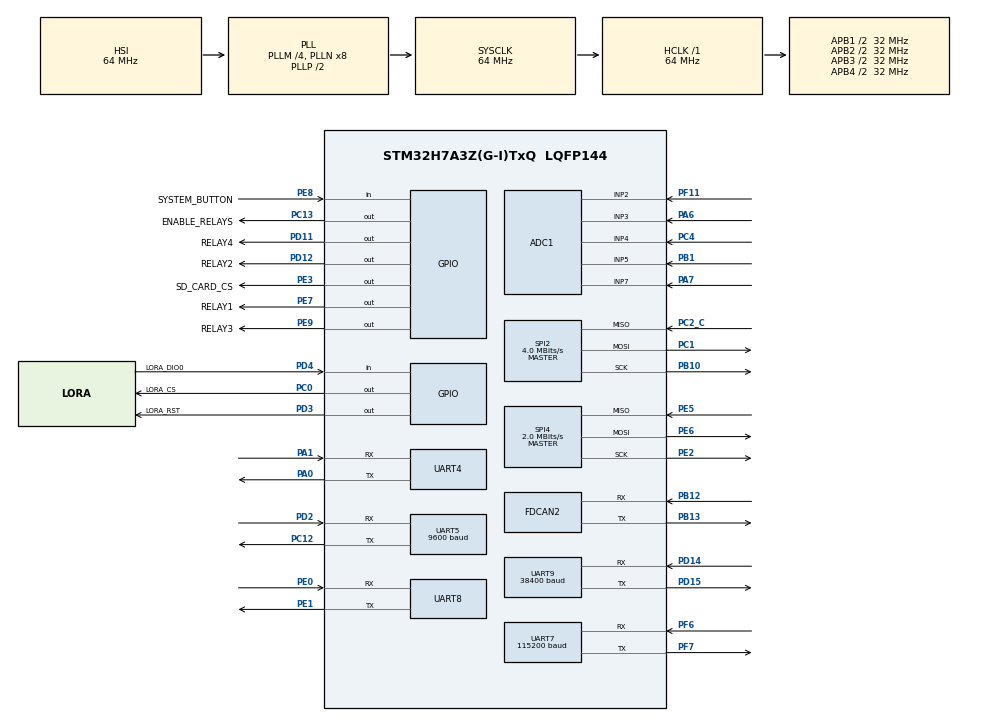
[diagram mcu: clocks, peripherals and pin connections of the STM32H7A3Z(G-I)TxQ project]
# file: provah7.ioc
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ADC1.Channel-0\#ChannelRegularConversion=ADC_CHANNEL_2
ADC1.Channel-1\#ChannelRegularConversion=ADC_CHANNEL_3
ADC1.Channel-2\#ChannelRegularConversion=ADC_CHANNEL_4
ADC1.Channel-3\#ChannelRegularConversion=ADC_CHANNEL_5
ADC1.Channel-4\#ChannelRegularConversion=ADC_CHANNEL_7
ADC1.ClockPrescaler=ADC_CLOCK_ASYNC_DIV32
ADC1.ContinuousConvMode=ENABLE
ADC1.ConversionDataManagement=ADC_CONVERSIONDATA_DMA_CIRCULAR
ADC1.EOCSelection=ADC_EOC_SEQ_CONV
ADC1.NbrOfConversion=5
ADC1.NbrOfConversionFlag=1
ADC1.OffsetNumber-0\#ChannelRegularConversion=ADC_OFFSET_NONE
ADC1.OffsetNumber-1\#ChannelRegularConversion=ADC_OFFSET_NONE
ADC1.OffsetNumber-2\#ChannelRegularConversion=ADC_OFFSET_NONE
ADC1.OffsetNumber-3\#ChannelRegularConversion=ADC_OFFSET_NONE
ADC1.OffsetNumber-4\#ChannelRegularConversion=ADC_OFFSET_NONE
ADC1.OffsetSignedSaturation-0\#ChannelRegularConversion=DISABLE
ADC1.OffsetSignedSaturation-1\#ChannelRegularConversion=DISABLE
ADC1.OffsetSignedSaturation-2\#ChannelRegularConversion=DISABLE
ADC1.OffsetSignedSaturation-3\#ChannelRegularConversion=DISABLE
ADC1.OffsetSignedSaturation-4\#ChannelRegularConversion=DISABLE
ADC1.Rank-0\#ChannelRegularConversion=1
ADC1.Rank-1\#ChannelRegularConversion=2
ADC1.Rank-2\#ChannelRegularConversion=3
ADC1.Rank-3\#ChannelRegularConversion=4
ADC1.Rank-4\#ChannelRegularConversion=5
ADC1.SamplingTime-0\#ChannelRegularConversion=ADC_SAMPLETIME_1CYCLE_5
ADC1.SamplingTime-1\#ChannelRegularConversion=ADC_SAMPLETIME_1CYCLE_5
ADC1.SamplingTime-2\#ChannelRegularConversion=ADC_SAMPLETIME_1CYCLE_5
ADC1.SamplingTime-3\#ChannelRegularConversion=ADC_SAMPLETIME_1CYCLE_5
ADC1.SamplingTime-4\#ChannelRegularConversion=ADC_SAMPLETIME_1CYCLE_5
ADC1.master=1
Dma.ADC1.0.Direction=DMA_PERIPH_TO_MEMORY
Dma.ADC1.0.EventEnable=DISABLE
Dma.ADC1.0.FIFOMode=DMA_FIFOMODE_DISABLE
Dma.ADC1.0.Instance=DMA1_Stream0
Dma.ADC1.0.MemDataAlignment=DMA_MDATAALIGN_HALFWORD
Dma.ADC1.0.MemInc=DMA_MINC_ENABLE
Dma.ADC1.0.Mode=DMA_CIRCULAR
Dma.ADC1.0.PeriphDataAlignment=DMA_PDATAALIGN_HALFWORD
Dma.ADC1.0.PeriphInc=DMA_PINC_DISABLE
Dma.ADC1.0.Polarity=HAL_DMAMUX_REQ_GEN_RISING
Dma.ADC1.0.Priority=DMA_PRIORITY_LOW
Dma.ADC1.0.RequestNumber=1
Dma.ADC1.0.SignalID=NONE
Dma.ADC1.0.SyncEnable=DISABLE
Dma.ADC1.0.SyncPolarity=HAL_DMAMUX_SYNC_NO_EVENT
Dma.ADC1.0.SyncRequestNumber=1
Dma.ADC1.0.SyncSignalID=NONE
Dma.Request0=ADC1
FATFS._MAX_SS=4096
FDCAN2.CalculateBaudRateNominal=533333
FDCAN2.CalculateTimeBitNominal=1875
FDCAN2.CalculateTimeQuantumNominal=375.0
FDCAN2.DataPrescaler=18
Mcu.Family=STM32H7
Mcu.Name=STM32H7A3Z(G-I)TxQ
Mcu.Package=LQFP144
NVIC.DMA1_Stream0_IRQn=true\:0\:0\:false\:false\:true\:false\:true\:true
NVIC.FDCAN2_IT0_IRQn=true\:0\:0\:false\:false\:true\:true\:true\:true
NVIC.PriorityGroup=NVIC_PRIORITYGROUP_4
NVIC.UART4_IRQn=true\:11\:0\:true\:false\:true\:true\:true\:true
NVIC.UART5_IRQn=true\:14\:0\:true\:false\:true\:true\:true\:true
NVIC.UART7_IRQn=true\:12\:0\:true\:false\:true\:true\:true\:true
NVIC.UART8_IRQn=true\:10\:0\:true\:false\:true\:true\:true\:true
PA0.Mode=Asynchronous
PA0.Signal=UART4_TX
PA1.Mode=Asynchronous
PA1.Signal=UART4_RX
PA6.Signal=ADCx_INP3
PA7.Signal=ADCx_INP7
PB1.Signal=ADCx_INP5
PB10.Mode=Full_Duplex_Master
PB10.Signal=SPI2_SCK
PB12.GPIO_PuPd=GPIO_PULLUP
PB12.GPIO_Speed=GPIO_SPEED_FREQ_VERY_HIGH
PB12.Mode=FDCAN_Activate
PB12.Signal=FDCAN2_RX
PB13.GPIO_Speed=GPIO_SPEED_FREQ_VERY_HIGH
PB13.Mode=FDCAN_Activate
PB13.Signal=FDCAN2_TX
PC0.GPIO_Label=LORA_CS
PC0.Signal=GPIO_Output
PC1.Mode=Full_Duplex_Master
PC1.Signal=SPI2_MOSI
PC12.Mode=Asynchronous
PC12.Signal=UART5_TX
PC13.GPIO_Label=ENABLE_RELAYS
PC13.GPIO_PuPd=GPIO_PULLDOWN
PC13.Signal=GPIO_Output
PC2_C.Mode=Full_Duplex_Master
PC2_C.Signal=SPI2_MISO
PC4.Signal=ADCx_INP4
PD11.GPIO_Label=RELAY4
PD11.Signal=GPIO_Output
PD12.GPIO_Label=RELAY2
PD12.Signal=GPIO_Output
PD14.Mode=Asynchronous
PD14.Signal=UART9_RX
PD15.Mode=Asynchronous
PD15.Signal=UART9_TX
PD2.Mode=Asynchronous
PD2.Signal=UART5_RX
PD3.GPIO_Label=LORA_RST
PD3.Signal=GPIO_Output
PD4.GPIO_Label=LORA_DIO0
PD4.Signal=GPIO_Input
PE0.Mode=Asynchronous
PE0.Signal=UART8_RX
PE1.Mode=Asynchronous
PE1.Signal=UART8_TX
PE2.Mode=Full_Duplex_Master
PE2.Signal=SPI4_SCK
PE3.GPIO_Label=SD_CARD_CS
PE3.Signal=GPIO_Output
PE5.Mode=Full_Duplex_Master
PE5.Signal=SPI4_MISO
PE6.Mode=Full_Duplex_Master
PE6.Signal=SPI4_MOSI
PE7.GPIO_Label=RELAY1
PE7.Signal=GPIO_Output
PE8.GPIO_Label=SYSTEM_BUTTON
PE8.GPIO_PuPd=GPIO_PULLUP
PE8.Signal=GPIO_Input
PE9.GPIO_Label=RELAY3
PE9.Signal=GPIO_Output
PF11.Mode=IN2-Single-Ended
PF11.Signal=ADC1_INP2
PF6.GPIO_Speed=GPIO_SPEED_FREQ_VERY_HIGH
PF6.Mode=Asynchronous
PF6.Signal=UART7_RX
PF7.GPIO_Speed=GPIO_SPEED_FREQ_VERY_HIGH
PF7.Mode=Asynchronous
PF7.Signal=UART7_TX
ProjectManager.HeapSize=0x200
ProjectManager.StackSize=0x400
ProjectManager.TargetToolchain=STM32CubeIDE
RCC.ADCFreq_Value=42666666.666666664
RCC.APB1Freq_Value=32000000
RCC.APB2Freq_Value=32000000
RCC.APB3Freq_Value=32000000
RCC.APB4Freq_Value=32000000
RCC.CDPPRE=RCC_APB3_DIV2
RCC.CDPPRE1=RCC_APB1_DIV2
RCC.CDPPRE2=RCC_APB2_DIV2
RCC.CortexFreq_Value=64000000
RCC.DATA_CACHE_ENABLE=1
RCC.DIVM1=4
RCC.DIVM2=4
RCC.DIVN1=8
RCC.DIVN2=8
RCC.DIVP2=3
RCC.DIVQ1=3
RCC.HCLKFreq_Value=64000000
RCC.INSTRUCTION_CACHE_ENABLE=1
RCC.MSIAutoCalibration=DISABLED
RCC.MSICalibrationValue=0
RCC.PLL2FRACN=0
RCC.PLLFRACN=0
RCC.PREFETCH_ENABLE=0
RCC.ProductRev=revY
RCC.SPI123CLockSelection=RCC_SPI123CLKSOURCE_CLKP
RCC.SRDPPRE=RCC_APB4_DIV2
RCC.SYSCLKFreq_VALUE=64000000
RCC.SYSCLKSource=RCC_SYSCLKSOURCE_PLLCLK
RCC.USBFreq_Value=42666666.666666664
SH.ADCx_INP3.0=ADC1_INP3,IN3-Single-Ended
SH.ADCx_INP4.0=ADC1_INP4,IN4-Single-Ended
SH.ADCx_INP5.0=ADC1_INP5,IN5-Single-Ended
SH.ADCx_INP7.0=ADC1_INP7,IN7-Single-Ended
SPI2.BaudRatePrescaler=SPI_BAUDRATEPRESCALER_16
SPI2.CalculateBaudRate=4.0 MBits/s
SPI2.DataSize=SPI_DATASIZE_8BIT
SPI2.Direction=SPI_DIRECTION_2LINES
SPI2.Mode=SPI_MODE_MASTER
SPI2.VirtualType=VM_MASTER
SPI4.BaudRatePrescaler=SPI_BAUDRATEPRESCALER_16
SPI4.CalculateBaudRate=2.0 MBits/s
SPI4.DataSize=SPI_DATASIZE_8BIT
SPI4.Direction=SPI_DIRECTION_2LINES
SPI4.Mode=SPI_MODE_MASTER
SPI4.VirtualType=VM_MASTER
UART5.BaudRate=9600
UART7.BaudRate=115200
UART7.ClockPrescaler=PRESCALER_DIV1
UART7.Mode=MODE_RX
UART7.OneBitSampling=UART_ONE_BIT_SAMPLE_DISABLE
UART9.BaudRate=38400
UART9.Mode=MODE_TX
VP_FATFS_VS_Generic.Mode=User_defined
board=custom

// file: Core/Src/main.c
/* USER CODE BEGIN Header */
/**
 ******************************************************************************
 * @file           : main.c
 * @brief          : Main program body
 ******************************************************************************
 * @attention
 *
 * Copyright (c) 2023 STMicroelectronics.
 * All rights reserved.
 *
 * This software is licensed under terms that can be found in the LICENSE file
 * in the root directory of this software component.
 * If no LICENSE file comes with this software, it is provided AS-IS.
 *
 ******************************************************************************
 */
/* USER CODE END Header */
#include "main.h"
#include "fatfs.h"

/* USER CODE BEGIN Includes */
#include "LORALIB/LoRa.h"
#include <stdio.h>
#include <stdbool.h>
#include <string.h>
#include <stdarg.h> //for va_list var arg functions

/* USER CODE END Includes */

/* USER CODE BEGIN PD */

#define LORAPLEN 30

#define ADC16BIT 65535.0
#define ADCVDD 3.333

#define ADC1BUFSIZE 500
#define ADC1Channels 5

#define ADC2BUFSIZE 200
#define ADC2Channels 4

#define ADC3BUFSIZE 200
#define ADC3Channels 4

#define VOFF_ADC5V 0.0709
#define B_ADC5V 1.0146

/* USER CODE END PD */

ADC_HandleTypeDef hadc1;
DMA_HandleTypeDef hdma_adc1;

FDCAN_HandleTypeDef hfdcan2;

SPI_HandleTypeDef hspi2;
SPI_HandleTypeDef hspi4;

UART_HandleTypeDef huart4;
UART_HandleTypeDef huart5;
UART_HandleTypeDef huart7;
UART_HandleTypeDef huart8;
UART_HandleTypeDef huart9;

void SystemClock_Config(void);
void PeriphCommonClock_Config(void);
static void MX_GPIO_Init(void);
static void MX_DMA_Init(void);
static void MX_ADC1_Init(void);
static void MX_SPI4_Init(void);
static void MX_UART4_Init(void);
static void MX_UART5_Init(void);
static void MX_UART7_Init(void);
static void MX_SPI2_Init(void);
static void MX_UART8_Init(void);
static void MX_FDCAN2_Init(void);
static void MX_UART9_Init(void);

/* USER CODE BEGIN 0 */

//CAN
FDCAN_TxHeaderTypeDef TxHeader;
FDCAN_RxHeaderTypeDef RxHeader;

uint8_t TxDataCAN[8];
uint8_t TxData2CAN[8];
uint8_t RxDataCAN[8];
uint8_t RxData2CAN[8];
uint8_t RxData3CAN[8];
uint8_t RxData4CAN[8];
uint8_t RxData5CAN[8];
uint8_t RxData6CAN[8];
uint32_t TxMailbox;
int i = 0;

uint8_t count;

void HAL_CAN_RxFifo0MsgPendingCallback(FDCAN_HandleTypeDef *hcan1) {

	if (i == 0) {
		HAL_FDCAN_GetRxMessage(hcan1, FDCAN_RX_FIFO0, &RxHeader, RxDataCAN);
		i = 1;
	} else if (i == 1) {
		HAL_FDCAN_GetRxMessage(hcan1, FDCAN_RX_FIFO0, &RxHeader, RxData2CAN);
		i = 0;
	} else if (i == 2) {
		HAL_FDCAN_GetRxMessage(hcan1, FDCAN_RX_FIFO0, &RxHeader, RxData3CAN);
		i = 3;
	} else if (i == 3) {
		HAL_FDCAN_GetRxMessage(hcan1, FDCAN_RX_FIFO0, &RxHeader, RxData4CAN);
		i = 4;
	} else if (i == 4) {
		HAL_FDCAN_GetRxMessage(hcan1, FDCAN_RX_FIFO0, &RxHeader, RxData5CAN);
		i = 5;
	} else if (i == 5) {
		HAL_FDCAN_GetRxMessage(hcan1, FDCAN_RX_FIFO0, &RxHeader, RxData6CAN);
		i = 0;
	}

}

//DATA STRUCTURES
//We get this data through UART requests
typedef struct BMSStruct {
	//0x90 Data request
	int voltage; //byte 0 and 1 V*10
	int current; //byte 4 and 5 I*10 (remember 3000 offset)
	int soc; //byte 6,7 SOC*10
	//0x94: we get status info, in particular the number of cells (byte 0)
	//and the number of temp sensors (byte 1), which tell us how many bytes to take the temp from (best to do avg)
	uint8_t noOfCells;
	uint8_t noOfTempSensors;
	//0x96
	int temperature; //byte 1->7: from multiple sensors

} BMSStruct;

typedef struct DCDCStruct {
	unsigned short outVoltage; //*10
	unsigned short outCurrent; //*10
	unsigned short outPower;

	unsigned short inputTension;
	signed short dissipatoreTemp;
} DCDCStruct;

typedef struct PSStruct {
	float ps1;
	float ps2;
	float ps3;
} PSStruct;

typedef struct ControllerStruct {
	//for now we can only detect temperature
	int temp;
} ControllerStruct;

typedef struct EngineInfoStruct {
	int BUSVoltage;
	int BUSCurrent;
	int engineSpeed;
	int alarm; //?????? è questo?
} EngineInfoStruct;

typedef struct vitalSystemInfoStruct {
	EngineInfoStruct engineInfo;
	BMSStruct BMSData;
	DCDCStruct DCDCData;
	float h2SensorValue;
	PSStruct psValues;
	ControllerStruct controllerData;
} vitalSystemInfoStruct;

vitalSystemInfoStruct vitalSystemInfo;

//LORA

void assignUShort(uint8_t *out_packet, int *ind, unsigned short ass) {
	union {
		unsigned short a;
		uint8_t bytes[2];
	} thing;
	thing.a = ass;
	for (int i = 0; i < 2; i++) {
		out_packet[i + *ind] = thing.bytes[i];
	}
	(*ind) += 2;
}

void createLoRaPacket(uint8_t *out_packet) {
	//turns the struct into composed uint array. Total 30 bytes
	int ind = 0;
	assignUShort(out_packet, &ind, vitalSystemInfo.DCDCData.outVoltage);
	assignUShort(out_packet, &ind, vitalSystemInfo.DCDCData.outCurrent);
	assignUShort(out_packet, &ind, vitalSystemInfo.DCDCData.outPower);
	assignUShort(out_packet, &ind, vitalSystemInfo.DCDCData.inputTension);
	assignUShort(out_packet, &ind, vitalSystemInfo.DCDCData.dissipatoreTemp);

	//TODO: SAVE THE RAW, DONT DO CALCULATIONS
	assignUShort(out_packet, &ind,
			(unsigned short) ((vitalSystemInfo.psValues.ps1 * ADC16BIT) / ADCVDD));
	assignUShort(out_packet, &ind,
			(unsigned short) ((vitalSystemInfo.psValues.ps2 * ADC16BIT) / ADCVDD));
	assignUShort(out_packet, &ind,
			(unsigned short) ((vitalSystemInfo.psValues.ps3 * ADC16BIT) / ADCVDD));

	assignUShort(out_packet, &ind, vitalSystemInfo.controllerData.temp);
	assignUShort(out_packet, &ind, vitalSystemInfo.controllerData.temp); //TODO: put speed here

	assignUShort(out_packet, &ind,
			(unsigned short) ((vitalSystemInfo.h2SensorValue * ADC16BIT)
					/ ADCVDD));

	assignUShort(out_packet, &ind, vitalSystemInfo.BMSData.voltage);
	assignUShort(out_packet, &ind, vitalSystemInfo.BMSData.current);
	assignUShort(out_packet, &ind, vitalSystemInfo.BMSData.soc);
	assignUShort(out_packet, &ind, vitalSystemInfo.BMSData.temperature);
}

//UART

static unsigned short bytesToUShort(uint8_t b1, uint8_t b2) {
	unsigned short wd = ((unsigned short) b1 << 8) | b2;
	return wd;
}

static signed short bytesToSShort(uint8_t b1, uint8_t b2) {
	signed short wd = ((signed short) b1 << 8) | b2;
	return wd;
}

static int bytesToInt(uint8_t b1, uint8_t b2) {
	int wd = ((int) b1 << 8) | b2;
	return wd;
}

void decodeDCDCReceivedData(uint8_t *rdata) {
	//i get 10 bytes
	vitalSystemInfo.DCDCData.outVoltage = bytesToUShort(rdata[2], rdata[1]);
	vitalSystemInfo.DCDCData.outCurrent = bytesToUShort(rdata[4], rdata[3]);
	vitalSystemInfo.DCDCData.outPower = bytesToUShort(rdata[6], rdata[5]);
	vitalSystemInfo.DCDCData.inputTension = bytesToUShort(rdata[8], rdata[7]);
	vitalSystemInfo.DCDCData.dissipatoreTemp = bytesToSShort(rdata[10],
			rdata[9]);

}

uint8_t receivedDCDCUartData[50];
uint8_t receivedControllerUARTData[8];
uint8_t receivedBMSUartData[13];

//BMS
#define XFER_BUFFER_LENGTH 13
#define BMS_CURRENT_OFFSET 30000

void readBMSData() {
	//HAL_UART_Receive(&huart5, receivedBMSUartData, 13, 1000);
	if (receivedBMSUartData[0] == 0xA5) {
		//right data
		switch (receivedBMSUartData[2]) {
		case 0x90:
			//requested v, i, soc
			vitalSystemInfo.BMSData.voltage = bytesToInt(receivedBMSUartData[4],
					receivedBMSUartData[5]);
			vitalSystemInfo.BMSData.current = bytesToInt(receivedBMSUartData[8],
					receivedBMSUartData[9]) - BMS_CURRENT_OFFSET;
			vitalSystemInfo.BMSData.soc = bytesToInt(receivedBMSUartData[10],
					receivedBMSUartData[11]);
			break;
		case 0x96:
			//requested temp
			//TODO: Maybe do avg
			vitalSystemInfo.BMSData.temperature = receivedBMSUartData[4];
			break;
		case 0x94:
			//requested n of cells, nb of sensors
			vitalSystemInfo.BMSData.noOfCells = receivedBMSUartData[4];
			vitalSystemInfo.BMSData.noOfTempSensors = receivedBMSUartData[5];
			break;
		}
	}
}

int BMSDataDelay;
bool tempDataReq;

void requestBMSData() {
	//Requesting

	if (tempDataReq == false) {
		//first here

		uint8_t txData[13];
		txData[0] = 0xA5;
		txData[1] = 0x40;
		txData[2] = 0x90;
		txData[3] = 0x08;

		txData[4] = 0x00;
		txData[5] = 0x00;
		txData[6] = 0x00;
		txData[7] = 0x00;
		txData[8] = 0x00;
		txData[9] = 0x00;
		txData[10] = 0x00;
		txData[11] = 0x00;

		txData[12] = 0x7d;			//checksum
		HAL_UART_Transmit(&huart5, txData, XFER_BUFFER_LENGTH, 30);
		BMSDataDelay = HAL_GetTick();
		tempDataReq == true;
	}

	if ((HAL_GetTick() - BMSDataDelay >= 30) && (tempDataReq == true)) {
		uint8_t txData[13];
		txData[0] = 0xA5;
		txData[1] = 0x40;
		txData[2] = 0x96;
		txData[3] = 0x08;

		txData[4] = 0x00;
		txData[5] = 0x00;
		txData[6] = 0x00;
		txData[7] = 0x00;
		txData[8] = 0x00;
		txData[9] = 0x00;
		txData[10] = 0x00;
		txData[11] = 0x00;

		txData[12] = 0x83;			//checksum
		HAL_UART_Transmit(&huart5, txData, XFER_BUFFER_LENGTH, 30);
		tempDataReq = false;
	}

}

//SD CARD

FATFS FatFs; //Fatfs handle
FIL fil; //File handle
FRESULT fres; //Result after operations

void mount_sd_card() {
	fres = f_mount(&FatFs, "", 1); //1=mount now
	if (fres != FR_OK) {
		//printf("No SD Card found : (%i)\r\n", fres);
		return;
	} else {
		int a = 0;
	}
}

int setFilename = 0;
char filename[20];

int BUSVoltage;
int BUSCurrent;
int engineSpeed;
int alarm; //?????? è questo?

void write_to_file() {

	do {
		uint32_t currentTime = HAL_GetTick();
		char dataString[200];
		char headerString[327];
		sprintf(dataString,
				"%d, %d, %d, %d, %d, %d, %d, %d, %d, %f, %f, %f, %f, %d, %d, %d, %d, %d, %lu\n",
				vitalSystemInfo.BMSData.current,
				vitalSystemInfo.BMSData.voltage,
				vitalSystemInfo.BMSData.temperature,
				vitalSystemInfo.BMSData.soc,
				vitalSystemInfo.DCDCData.outVoltage,
				vitalSystemInfo.DCDCData.outCurrent,
				vitalSystemInfo.DCDCData.outPower,
				vitalSystemInfo.DCDCData.inputTension,
				vitalSystemInfo.DCDCData.dissipatoreTemp,
				vitalSystemInfo.h2SensorValue, vitalSystemInfo.psValues.ps1,
				vitalSystemInfo.psValues.ps2, vitalSystemInfo.psValues.ps3,
				vitalSystemInfo.controllerData.temp,
				vitalSystemInfo.engineInfo.BUSVoltage,
				vitalSystemInfo.engineInfo.BUSCurrent,
				vitalSystemInfo.engineInfo.engineSpeed,
				vitalSystemInfo.engineInfo.alarm, currentTime);
		bool newFileTitle = false;
		if (!setFilename) {
			//begin
			newFileTitle = true;
			snprintf(filename, sizeof(filename), "%ld.txt", HAL_GetTick());
			setFilename = 1;
		}

		//Open the file
		fres = f_open(&fil, filename, FA_WRITE | FA_OPEN_APPEND);
		if (fres != FR_OK) {
			//printf("File creation/open Error : (%i)\r\n", fres);
			//HAL_Delay(700);
			mount_sd_card();
			break;
		}

		if (newFileTitle) {
			newFileTitle = false;
			sprintf(headerString,
					"BMSData.current, BMSData.voltage, BMSData.temperature, BMSData.soc, DCDCData.outVoltage, DCDCData.outCurrent, DCDCData.outPower, DCDCData.inputTension, DCDCData.dissipatoreTemp, h2SensorValue, ps1, ps2, ps3, controllerData.temp, engineInfo.BUSVoltage, engineInfo.BUSCurrent, engineInfo.engineSpeed, engineInfo.alarm, timestamp\n");
			f_puts(headerString, &fil);
		}

		f_puts(dataString, &fil);

		f_close(&fil);

	} while (0);
}

//TODO: What is it
#define H2TANKSTEMP 27

int remainingH2KW() {
	//gives kW remaining fC
	//TODO: Have exact formula
	int ps1Rem = vitalSystemInfo.psValues.ps1;
	int ps2Rem = vitalSystemInfo.psValues.ps2;
	int ps3Rem = vitalSystemInfo.psValues.ps3;
	return (ps1Rem + ps2Rem + ps3Rem);
}

/*
 void calculateOptimalPower(){
 //get voltage and current from BMS and DCDC (output)
 //From that calculate the remaining time from that power
 int batteryPower = vitalSystemInfo.BMSData.current * vitalSystemInfo.BMSData.voltage;
 int FCPower = vitalSystemInfo.DCDCData.outPower;
 int totalPowerNOW = batteryPower + FCPower;

 int remainingH2KW = remainingH2();
 //TODO: How to calculate this
 int remainingBatteryW = vitalSystemInfo.BMSData.soc;

 //int totalRemainingW = remainingH2W + remainingBatteryW;

 float hoursRemaining = totalRemainingW/totalPowerNOW;
 }*/

//UART callbacks
/*UART received data handling*/
void HAL_UARTEx_RxEventCallback(UART_HandleTypeDef *huart, uint16_t Size) {
	if (huart == &huart7) {
		//received form dcdc uart
		if (receivedDCDCUartData[0] == 0x18) {
			//we received the data we wanted
			decodeDCDCReceivedData(receivedDCDCUartData);
		}
		HAL_UARTEx_ReceiveToIdle_IT(&huart7, receivedDCDCUartData, 20);
		//HAL_UART_Receive_IT(&huart7, receivedDCDCUartData, 50);
	} else if (huart == &huart4) {
		//Data from the controller, we always get 8 bytes, the last one is the temp*2
		vitalSystemInfo.controllerData.temp = receivedControllerUARTData[7] / 2;
		HAL_UART_Receive_IT(&huart4, receivedControllerUARTData, 12);
	} else if (huart == &huart5) {
		//Data from BMS
		readBMSData();
		HAL_UARTEx_ReceiveToIdle_IT(&huart5, receivedBMSUartData, 13);
	} else if (huart == &huart8) {
		//Data from GPS
	}
}

/*ADC Data handling*/

uint16_t adc1Buff[500]; //100 reads per adc channel, 16 bits prec
uint16_t adc2Buff[200]; //50 reads per adc channel, 16 bits prec
uint16_t adc3Buff[200]; //50 reads per adc channel, 16 bits prec

void HAL_ADC_ConvCpltCallback(ADC_HandleTypeDef *hadc) {
	if (hadc == &hadc1) {
		//adc 1 gets ps1, ps2,ps3, psfc1, h2
		float ps1sum = 0;
		float ps2sum = 0;
		float ps3sum = 0;
		float psfcsum = 0;
		float h2sum = 0;

		for (int i = 0; i < ADC1BUFSIZE; i += ADC1Channels) {
			ps1sum += adc1Buff[i + 0];
			ps2sum += adc1Buff[i + 2];
			ps3sum += adc1Buff[i + 1];
			h2sum += adc1Buff[i + 3];
			psfcsum += adc1Buff[i + 4];
		}
		//we got the values, the adc is 16 bits
		//computes ((sum /100)/65535)*3.3 50 microvolts precision!

		vitalSystemInfo.psValues.ps1 = ((((ps1sum
				/ ((ADC1BUFSIZE / ADC1Channels))) / ADC16BIT) * 5.0) - 0.0709)
				/ 1.0146;
		vitalSystemInfo.psValues.ps2 =
				((ps2sum / ((ADC1BUFSIZE / ADC1Channels))) / ADC16BIT) * 5.0;
		vitalSystemInfo.psValues.ps3 =
				((ps3sum / ((ADC1BUFSIZE / ADC1Channels))) / ADC16BIT) * 5.0;
		vitalSystemInfo.h2SensorValue =
				((h2sum / ((ADC1BUFSIZE / ADC1Channels))) / ADC16BIT) * 5.0;

	}

}

enum NUCLEOSTate {
	nucleoInit,
	nominal,
	h2Emergency,
	PBEmergency,
	killcordEmergency,
	waitingStep
};
enum NUCLEOSTate status;

bool fansOn = false;
long int fansOnCounter;

void emergencyGeneralActions() {
	//start the fans and open the relay
	fansOn = true;
	fansOnCounter = HAL_GetTick();
	HAL_GPIO_WritePin(RELAY1_GPIO_Port, RELAY1_Pin, GPIO_PIN_SET);
}

int ff = 0;
int dd = 0;
void generateFakeH2Eme() {
	int ff = 0;
	if ((HAL_GetTick() > dd + 10000) && ff == 0) {
		ff = 1;
		status = h2Emergency;
		emergencyGeneralActions();
	}
}

//3.3 is 1000 ppm.
#define H2_ALARM_TRESHOLD 4.5 //900 ppm
#define H2_ALARM_RESET_VALUE 2.0 //400 ppm

void checkAlarms() {

	if (vitalSystemInfo.h2SensorValue > H2_ALARM_TRESHOLD) {
		//h2 over the limit
		HAL_GPIO_WritePin(RELAY1_GPIO_Port, RELAY1_Pin, GPIO_PIN_SET);
		emergencyGeneralActions();
		status = h2Emergency;
	}

	//TODO: check killcord activation (probably to manage in callback)

}

void backToNominalState() {
	//switch power on
	HAL_GPIO_WritePin(RELAY1_GPIO_Port, RELAY1_Pin, GPIO_PIN_RESET);
	HAL_Delay(100);
	//switch controller on, switching for 3 secs (relay2)
	HAL_GPIO_WritePin(RELAY2_GPIO_Port, RELAY2_Pin, GPIO_PIN_RESET);
	HAL_Delay(3000);
	HAL_GPIO_WritePin(RELAY2_GPIO_Port, RELAY2_Pin, GPIO_PIN_SET);
	status = nominal;
}

void writeDCDCData() {
	char dataString[60];
	int v = 70;
	int c = 20;
	unsigned int p = 1800;
	sprintf(dataString, "%d %d %u\n", v, c, p);
	size_t dataLength = strlen(dataString); // Calculate the length of the data string

	HAL_UART_Transmit(&huart9, (uint8_t*) dataString, dataLength, 100);
	HAL_Delay(10);
}

void readDCDCDataPolling() {
	HAL_UART_Receive(&huart7, receivedDCDCUartData, 11, 5);
	if (receivedDCDCUartData[0] == 0x18) {
		decodeDCDCReceivedData(receivedDCDCUartData);
	}

}

#define EMERGENCY_FANS_TIME_MS 60000 //60 secs delay for fans after emergency

void manageFans() {
	if (fansOn == true) {
		if (HAL_GetTick() > fansOnCounter + EMERGENCY_FANS_TIME_MS) {
			//stop fans
			fansOn = false;
			HAL_GPIO_WritePin(RELAY3_GPIO_Port, RELAY3_Pin, GPIO_PIN_SET);
		}
		HAL_GPIO_WritePin(RELAY3_GPIO_Port, RELAY3_Pin, GPIO_PIN_RESET);
	} else {
		HAL_GPIO_WritePin(RELAY3_GPIO_Port, RELAY3_Pin, GPIO_PIN_SET);
	}
}

int cntLOR;
bool loraActive;

void manageLoRaTransmission(){
	if (loraActive == true) {
		if (loRaIsTrasmitting() == FALSE) {
			uint8_t buff[30];
			createLoRaPacket(buff);
			loRaClearIRQReceive();
			loRaSendPacket(TRUE, buff, sizeof(buff));
			loRaSetSpreadingFactor(cntLOR);
		}
	}
}

/* USER CODE END 0 */

int main(void) {

	/* MCU Configuration--------------------------------------------------------*/

	/* Reset of all peripherals, Initializes the Flash interface and the Systick. */
	HAL_Init();

	/* Configure the system clock */
	SystemClock_Config();

	/* Configure the peripherals common clocks */
	PeriphCommonClock_Config();

	/* Initialize all configured peripherals */
	MX_GPIO_Init();
	MX_DMA_Init();
	MX_ADC1_Init();
	MX_SPI4_Init();
	MX_UART4_Init();
	MX_UART5_Init();
	MX_UART7_Init();
	MX_SPI2_Init();
	MX_UART8_Init();
	MX_FDCAN2_Init();
	MX_UART9_Init();
	MX_FATFS_Init();
	/* USER CODE BEGIN 2 */

	HAL_Delay(300);

	//Initialize UART IT

	//HAL_UART_Receive_IT(&huart4, receivedControllerUARTData, 4);
	//HAL_UART_Receive_IT(&huart7, receivedDCDCUartData, 3);
	//HAL_UART_Receive_DMA (&huart4, receivedDCDCUartData, 3);

	status = nucleoInit;

	loraActive = false;

	if (loRaInit(&hspi2, LORA_CS_GPIO_Port, LORA_CS_Pin, LORA_DIO0_GPIO_Port,
	LORA_DIO0_Pin, LORA_RST_GPIO_Port, LORA_RST_Pin)) {
		//LoRaSuccess
		loRaFullyTransmitMode();
		loRaEnableCRC();
		loRaSetSyncWord(0xF4);
		loRaSetTxPower(21, TRUE); //boost the signal to TRUW
		loRaSetSpreadingFactor(7);
		loRaSetSignalBandwidth(250E3);
		loRaSetCodingRate(9);
		//start sending packet
		uint8_t buff = 0x34;
		loRaSendPacket(TRUE, &buff, sizeof(buff));
		loraActive = true;
	} else {

		//LoRaFail
		//stays in loop while it cannot initialize the lora module
		//TODO: REMOVE THIS BLOCKING BIT!
		do {
			HAL_Delay(1000);
		} while (!loRaInit(&hspi2, LORA_CS_GPIO_Port, LORA_CS_Pin,
		LORA_DIO0_GPIO_Port, LORA_DIO0_Pin, LORA_RST_GPIO_Port,
		LORA_RST_Pin));

	}

	//Initialize ADC DMA
	HAL_ADC_Start_DMA(&hadc1, adc1Buff, sizeof(adc1Buff) / sizeof(adc1Buff[0]));
	//HAL_ADC_Start_DMA(&hadc2, adc2Buff, sizeof(adc2Buff)/sizeof(adc2Buff[0]));
	//HAL_ADC_Start_DMA(&hadc3, adc3Buff, sizeof(adc3Buff)/sizeof(adc3Buff[0]));

	/* USER CODE END 2 */

	/* Infinite loop */
	/* USER CODE BEGIN WHILE */

	cntLOR = 7;

	dd = HAL_GetTick();
	fansOn = false;
	tempDataReq = false;

	mount_sd_card();

	HAL_UARTEx_ReceiveToIdle_IT(&huart5, receivedBMSUartData, 13);

	HAL_FDCAN_Start(&hfdcan2);
	HAL_FDCAN_ActivateNotification(&hfdcan2, FDCAN_IT_RX_FIFO0_NEW_MESSAGE, 0);
	/*
	 TxHeader.DLC=8;
	 TxHeader.ExtId=0;
	 TxHeader.IDE=CAN_ID_STD;
	 TxHeader.RTR=CAN_RTR_DATA;
	 TxHeader.StdId= 0x103;
	 TxHeader.TransmitGlobalTime= DISABLE;
	 */

	while (1) {
		//readDCDCDataPolling();
		//writeDCDCData();

		switch (status) {
		case nucleoInit:
			// Code for nucleoInit state
			HAL_GPIO_WritePin(RELAY1_GPIO_Port, RELAY1_Pin, GPIO_PIN_SET);
			HAL_GPIO_WritePin(RELAY2_GPIO_Port, RELAY2_Pin, GPIO_PIN_SET);
			HAL_GPIO_WritePin(RELAY3_GPIO_Port, RELAY3_Pin, GPIO_PIN_SET);
			//generateFakeH2Eme();
			if (HAL_GPIO_ReadPin(SYSTEM_BUTTON_GPIO_Port, SYSTEM_BUTTON_Pin)
					== GPIO_PIN_RESET) {
				backToNominalState();
			}
			break;
		case nominal:
			// Code for nominal state
			//int g = 0;
			readDCDCDataPolling();
			writeDCDCData();
			//calculateOptimalPower();
			//HAL_GPIO_WritePin(RELAY3_GPIO_Port, RELAY3_Pin, GPIO_PIN_SET);
			break;
		case h2Emergency:
			// Code for h2Emergency state
			//keep checking h2 values

			if (vitalSystemInfo.h2SensorValue < H2_ALARM_RESET_VALUE) {
				//can restart
				status = waitingStep;
			}
			break;
		case killcordEmergency:
			//TODO: Code for killcordEmergency state
			status = killcordEmergency;
			break;
		case waitingStep:
			if (HAL_GPIO_ReadPin(SYSTEM_BUTTON_GPIO_Port, SYSTEM_BUTTON_Pin)
					== GPIO_PIN_RESET && !fansOn) {
				backToNominalState();
			}
			break;
		default:
			// Code for handling unknown state, should never happen
			backToNominalState();
			break;
		}

		//check for alarms
		checkAlarms();

		//activate fans if needed
		manageFans();

		//ask bms for data
		requestBMSData();
		//readBMSDataPolling();

		//write data to sd card log
		write_to_file();

		//send lora packet
		manageLoRaTransmission();

		/* USER CODE END WHILE */

	}
}

void SystemClock_Config(void) {
	RCC_OscInitTypeDef RCC_OscInitStruct = { 0 };
	RCC_ClkInitTypeDef RCC_ClkInitStruct = { 0 };

	/*AXI clock gating */
	RCC->CKGAENR = 0xFFFFFFFF;

	/** Supply configuration update enable
	 */
	HAL_PWREx_ConfigSupply(PWR_DIRECT_SMPS_SUPPLY);

	/** Configure the main internal regulator output voltage
	 */
	__HAL_PWR_VOLTAGESCALING_CONFIG(PWR_REGULATOR_VOLTAGE_SCALE3);

	while (!__HAL_PWR_GET_FLAG(PWR_FLAG_VOSRDY)) {
	}

	/** Initializes the RCC Oscillators according to the specified parameters
	 * in the RCC_OscInitTypeDef structure.
	 */
	RCC_OscInitStruct.OscillatorType = RCC_OSCILLATORTYPE_HSI;
	RCC_OscInitStruct.HSIState = RCC_HSI_DIV1;
	RCC_OscInitStruct.HSICalibrationValue = 64;
	RCC_OscInitStruct.PLL.PLLState = RCC_PLL_ON;
	RCC_OscInitStruct.PLL.PLLSource = RCC_PLLSOURCE_HSI;
	RCC_OscInitStruct.PLL.PLLM = 4;
	RCC_OscInitStruct.PLL.PLLN = 8;
	RCC_OscInitStruct.PLL.PLLP = 2;
	RCC_OscInitStruct.PLL.PLLQ = 3;
	RCC_OscInitStruct.PLL.PLLR = 2;
	RCC_OscInitStruct.PLL.PLLRGE = RCC_PLL1VCIRANGE_3;
	RCC_OscInitStruct.PLL.PLLVCOSEL = RCC_PLL1VCOWIDE;
	RCC_OscInitStruct.PLL.PLLFRACN = 0;
	if (HAL_RCC_OscConfig(&RCC_OscInitStruct) != HAL_OK) {
		Error_Handler();
	}

	/** Initializes the CPU, AHB and APB buses clocks
	 */
	RCC_ClkInitStruct.ClockType = RCC_CLOCKTYPE_HCLK | RCC_CLOCKTYPE_SYSCLK
			| RCC_CLOCKTYPE_PCLK1 | RCC_CLOCKTYPE_PCLK2 | RCC_CLOCKTYPE_D3PCLK1
			| RCC_CLOCKTYPE_D1PCLK1;
	RCC_ClkInitStruct.SYSCLKSource = RCC_SYSCLKSOURCE_PLLCLK;
	RCC_ClkInitStruct.SYSCLKDivider = RCC_SYSCLK_DIV1;
	RCC_ClkInitStruct.AHBCLKDivider = RCC_HCLK_DIV1;
	RCC_ClkInitStruct.APB3CLKDivider = RCC_APB3_DIV2;
	RCC_ClkInitStruct.APB1CLKDivider = RCC_APB1_DIV2;
	RCC_ClkInitStruct.APB2CLKDivider = RCC_APB2_DIV2;
	RCC_ClkInitStruct.APB4CLKDivider = RCC_APB4_DIV2;

	if (HAL_RCC_ClockConfig(&RCC_ClkInitStruct, FLASH_LATENCY_2) != HAL_OK) {
		Error_Handler();
	}
}

void PeriphCommonClock_Config(void) {
	RCC_PeriphCLKInitTypeDef PeriphClkInitStruct = { 0 };

	/** Initializes the peripherals clock
	 */
	PeriphClkInitStruct.PeriphClockSelection = RCC_PERIPHCLK_CKPER;
	PeriphClkInitStruct.CkperClockSelection = RCC_CLKPSOURCE_HSI;
	if (HAL_RCCEx_PeriphCLKConfig(&PeriphClkInitStruct) != HAL_OK) {
		Error_Handler();
	}
}

static void MX_ADC1_Init(void) {

	ADC_MultiModeTypeDef multimode = { 0 };
	ADC_ChannelConfTypeDef sConfig = { 0 };

	/** Common config
	 */
	hadc1.Instance = ADC1;
	hadc1.Init.ClockPrescaler = ADC_CLOCK_ASYNC_DIV32;
	hadc1.Init.Resolution = ADC_RESOLUTION_16B;
	hadc1.Init.ScanConvMode = ADC_SCAN_ENABLE;
	hadc1.Init.EOCSelection = ADC_EOC_SEQ_CONV;
	hadc1.Init.LowPowerAutoWait = DISABLE;
	hadc1.Init.ContinuousConvMode = ENABLE;
	hadc1.Init.NbrOfConversion = 5;
	hadc1.Init.DiscontinuousConvMode = DISABLE;
	hadc1.Init.ExternalTrigConv = ADC_SOFTWARE_START;
	hadc1.Init.ExternalTrigConvEdge = ADC_EXTERNALTRIGCONVEDGE_NONE;
	hadc1.Init.ConversionDataManagement = ADC_CONVERSIONDATA_DMA_CIRCULAR;
	hadc1.Init.Overrun = ADC_OVR_DATA_PRESERVED;
	hadc1.Init.LeftBitShift = ADC_LEFTBITSHIFT_NONE;
	hadc1.Init.OversamplingMode = DISABLE;
	if (HAL_ADC_Init(&hadc1) != HAL_OK) {
		Error_Handler();
	}

	/** Configure the ADC multi-mode
	 */
	multimode.Mode = ADC_MODE_INDEPENDENT;
	if (HAL_ADCEx_MultiModeConfigChannel(&hadc1, &multimode) != HAL_OK) {
		Error_Handler();
	}

	/** Configure Regular Channel
	 */
	sConfig.Channel = ADC_CHANNEL_2;
	sConfig.Rank = ADC_REGULAR_RANK_1;
	sConfig.SamplingTime = ADC_SAMPLETIME_1CYCLE_5;
	sConfig.SingleDiff = ADC_SINGLE_ENDED;
	sConfig.OffsetNumber = ADC_OFFSET_NONE;
	sConfig.Offset = 0;
	sConfig.OffsetSignedSaturation = DISABLE;
	if (HAL_ADC_ConfigChannel(&hadc1, &sConfig) != HAL_OK) {
		Error_Handler();
	}

	/** Configure Regular Channel
	 */
	sConfig.Channel = ADC_CHANNEL_3;
	sConfig.Rank = ADC_REGULAR_RANK_2;
	if (HAL_ADC_ConfigChannel(&hadc1, &sConfig) != HAL_OK) {
		Error_Handler();
	}

	/** Configure Regular Channel
	 */
	sConfig.Channel = ADC_CHANNEL_4;
	sConfig.Rank = ADC_REGULAR_RANK_3;
	if (HAL_ADC_ConfigChannel(&hadc1, &sConfig) != HAL_OK) {
		Error_Handler();
	}

	/** Configure Regular Channel
	 */
	sConfig.Channel = ADC_CHANNEL_5;
	sConfig.Rank = ADC_REGULAR_RANK_4;
	if (HAL_ADC_ConfigChannel(&hadc1, &sConfig) != HAL_OK) {
		Error_Handler();
	}

	/** Configure Regular Channel
	 */
	sConfig.Channel = ADC_CHANNEL_7;
	sConfig.Rank = ADC_REGULAR_RANK_5;
	if (HAL_ADC_ConfigChannel(&hadc1, &sConfig) != HAL_OK) {
		Error_Handler();
	}

}

static void MX_FDCAN2_Init(void) {

	hfdcan2.Instance = FDCAN2;
	hfdcan2.Init.FrameFormat = FDCAN_FRAME_CLASSIC;
	hfdcan2.Init.Mode = FDCAN_MODE_NORMAL;
	hfdcan2.Init.AutoRetransmission = DISABLE;
	hfdcan2.Init.TransmitPause = DISABLE;
	hfdcan2.Init.ProtocolException = DISABLE;
	hfdcan2.Init.NominalPrescaler = 16;
	hfdcan2.Init.NominalSyncJumpWidth = 1;
	hfdcan2.Init.NominalTimeSeg1 = 2;
	hfdcan2.Init.NominalTimeSeg2 = 2;
	hfdcan2.Init.DataPrescaler = 18;
	hfdcan2.Init.DataSyncJumpWidth = 1;
	hfdcan2.Init.DataTimeSeg1 = 1;
	hfdcan2.Init.DataTimeSeg2 = 1;
	hfdcan2.Init.MessageRAMOffset = 0;
	hfdcan2.Init.StdFiltersNbr = 0;
	hfdcan2.Init.ExtFiltersNbr = 0;
	hfdcan2.Init.RxFifo0ElmtsNbr = 0;
	hfdcan2.Init.RxFifo0ElmtSize = FDCAN_DATA_BYTES_8;
	hfdcan2.Init.RxFifo1ElmtsNbr = 0;
	hfdcan2.Init.RxFifo1ElmtSize = FDCAN_DATA_BYTES_8;
	hfdcan2.Init.RxBuffersNbr = 0;
	hfdcan2.Init.RxBufferSize = FDCAN_DATA_BYTES_8;
	hfdcan2.Init.TxEventsNbr = 0;
	hfdcan2.Init.TxBuffersNbr = 0;
	hfdcan2.Init.TxFifoQueueElmtsNbr = 0;
	hfdcan2.Init.TxFifoQueueMode = FDCAN_TX_FIFO_OPERATION;
	hfdcan2.Init.TxElmtSize = FDCAN_DATA_BYTES_8;
	if (HAL_FDCAN_Init(&hfdcan2) != HAL_OK) {
		Error_Handler();
	}

}

static void MX_SPI2_Init(void) {

	/* SPI2 parameter configuration*/
	hspi2.Instance = SPI2;
	hspi2.Init.Mode = SPI_MODE_MASTER;
	hspi2.Init.Direction = SPI_DIRECTION_2LINES;
	hspi2.Init.DataSize = SPI_DATASIZE_8BIT;
	hspi2.Init.CLKPolarity = SPI_POLARITY_LOW;
	hspi2.Init.CLKPhase = SPI_PHASE_1EDGE;
	hspi2.Init.NSS = SPI_NSS_SOFT;
	hspi2.Init.BaudRatePrescaler = SPI_BAUDRATEPRESCALER_16;
	hspi2.Init.FirstBit = SPI_FIRSTBIT_MSB;
	hspi2.Init.TIMode = SPI_TIMODE_DISABLE;
	hspi2.Init.CRCCalculation = SPI_CRCCALCULATION_DISABLE;
	hspi2.Init.CRCPolynomial = 0x0;
	hspi2.Init.NSSPMode = SPI_NSS_PULSE_ENABLE;
	hspi2.Init.NSSPolarity = SPI_NSS_POLARITY_LOW;
	hspi2.Init.FifoThreshold = SPI_FIFO_THRESHOLD_01DATA;
	hspi2.Init.TxCRCInitializationPattern =
	SPI_CRC_INITIALIZATION_ALL_ZERO_PATTERN;
	hspi2.Init.RxCRCInitializationPattern =
	SPI_CRC_INITIALIZATION_ALL_ZERO_PATTERN;
	hspi2.Init.MasterSSIdleness = SPI_MASTER_SS_IDLENESS_00CYCLE;
	hspi2.Init.MasterInterDataIdleness = SPI_MASTER_INTERDATA_IDLENESS_00CYCLE;
	hspi2.Init.MasterReceiverAutoSusp = SPI_MASTER_RX_AUTOSUSP_DISABLE;
	hspi2.Init.MasterKeepIOState = SPI_MASTER_KEEP_IO_STATE_DISABLE;
	hspi2.Init.IOSwap = SPI_IO_SWAP_DISABLE;
	if (HAL_SPI_Init(&hspi2) != HAL_OK) {
		Error_Handler();
	}

}

static void MX_SPI4_Init(void) {

	/* SPI4 parameter configuration*/
	hspi4.Instance = SPI4;
	hspi4.Init.Mode = SPI_MODE_MASTER;
	hspi4.Init.Direction = SPI_DIRECTION_2LINES;
	hspi4.Init.DataSize = SPI_DATASIZE_8BIT;
	hspi4.Init.CLKPolarity = SPI_POLARITY_LOW;
	hspi4.Init.CLKPhase = SPI_PHASE_1EDGE;
	hspi4.Init.NSS = SPI_NSS_SOFT;
	hspi4.Init.BaudRatePrescaler = SPI_BAUDRATEPRESCALER_16;
	hspi4.Init.FirstBit = SPI_FIRSTBIT_MSB;
	hspi4.Init.TIMode = SPI_TIMODE_DISABLE;
	hspi4.Init.CRCCalculation = SPI_CRCCALCULATION_DISABLE;
	hspi4.Init.CRCPolynomial = 0x0;
	hspi4.Init.NSSPMode = SPI_NSS_PULSE_ENABLE;
	hspi4.Init.NSSPolarity = SPI_NSS_POLARITY_LOW;
	hspi4.Init.FifoThreshold = SPI_FIFO_THRESHOLD_01DATA;
	hspi4.Init.TxCRCInitializationPattern =
	SPI_CRC_INITIALIZATION_ALL_ZERO_PATTERN;
	hspi4.Init.RxCRCInitializationPattern =
	SPI_CRC_INITIALIZATION_ALL_ZERO_PATTERN;
	hspi4.Init.MasterSSIdleness = SPI_MASTER_SS_IDLENESS_00CYCLE;
	hspi4.Init.MasterInterDataIdleness = SPI_MASTER_INTERDATA_IDLENESS_00CYCLE;
	hspi4.Init.MasterReceiverAutoSusp = SPI_MASTER_RX_AUTOSUSP_DISABLE;
	hspi4.Init.MasterKeepIOState = SPI_MASTER_KEEP_IO_STATE_DISABLE;
	hspi4.Init.IOSwap = SPI_IO_SWAP_DISABLE;
	if (HAL_SPI_Init(&hspi4) != HAL_OK) {
		Error_Handler();
	}

}

static void MX_UART4_Init(void) {

	huart4.Instance = UART4;
	huart4.Init.BaudRate = 115200;
	huart4.Init.WordLength = UART_WORDLENGTH_8B;
	huart4.Init.StopBits = UART_STOPBITS_1;
	huart4.Init.Parity = UART_PARITY_NONE;
	huart4.Init.Mode = UART_MODE_TX_RX;
	huart4.Init.HwFlowCtl = UART_HWCONTROL_NONE;
	huart4.Init.OverSampling = UART_OVERSAMPLING_16;
	huart4.Init.OneBitSampling = UART_ONE_BIT_SAMPLE_DISABLE;
	huart4.Init.ClockPrescaler = UART_PRESCALER_DIV1;
	huart4.AdvancedInit.AdvFeatureInit = UART_ADVFEATURE_NO_INIT;
	if (HAL_UART_Init(&huart4) != HAL_OK) {
		Error_Handler();
	}
	if (HAL_UARTEx_SetTxFifoThreshold(&huart4, UART_TXFIFO_THRESHOLD_1_8)
			!= HAL_OK) {
		Error_Handler();
	}
	if (HAL_UARTEx_SetRxFifoThreshold(&huart4, UART_RXFIFO_THRESHOLD_1_8)
			!= HAL_OK) {
		Error_Handler();
	}
	if (HAL_UARTEx_DisableFifoMode(&huart4) != HAL_OK) {
		Error_Handler();
	}

}

static void MX_UART5_Init(void) {

	huart5.Instance = UART5;
	huart5.Init.BaudRate = 9600;
	huart5.Init.WordLength = UART_WORDLENGTH_8B;
	huart5.Init.StopBits = UART_STOPBITS_1;
	huart5.Init.Parity = UART_PARITY_NONE;
	huart5.Init.Mode = UART_MODE_TX_RX;
	huart5.Init.HwFlowCtl = UART_HWCONTROL_NONE;
	huart5.Init.OverSampling = UART_OVERSAMPLING_16;
	huart5.Init.OneBitSampling = UART_ONE_BIT_SAMPLE_DISABLE;
	huart5.Init.ClockPrescaler = UART_PRESCALER_DIV1;
	huart5.AdvancedInit.AdvFeatureInit = UART_ADVFEATURE_NO_INIT;
	if (HAL_UART_Init(&huart5) != HAL_OK) {
		Error_Handler();
	}
	if (HAL_UARTEx_SetTxFifoThreshold(&huart5, UART_TXFIFO_THRESHOLD_1_8)
			!= HAL_OK) {
		Error_Handler();
	}
	if (HAL_UARTEx_SetRxFifoThreshold(&huart5, UART_RXFIFO_THRESHOLD_1_8)
			!= HAL_OK) {
		Error_Handler();
	}
	if (HAL_UARTEx_DisableFifoMode(&huart5) != HAL_OK) {
		Error_Handler();
	}

}

static void MX_UART7_Init(void) {

	huart7.Instance = UART7;
	huart7.Init.BaudRate = 115200;
	huart7.Init.WordLength = UART_WORDLENGTH_8B;
	huart7.Init.StopBits = UART_STOPBITS_1;
	huart7.Init.Parity = UART_PARITY_NONE;
	huart7.Init.Mode = UART_MODE_RX;
	huart7.Init.HwFlowCtl = UART_HWCONTROL_NONE;
	huart7.Init.OverSampling = UART_OVERSAMPLING_16;
	huart7.Init.OneBitSampling = UART_ONE_BIT_SAMPLE_DISABLE;
	huart7.Init.ClockPrescaler = UART_PRESCALER_DIV1;
	huart7.AdvancedInit.AdvFeatureInit = UART_ADVFEATURE_NO_INIT;
	if (HAL_UART_Init(&huart7) != HAL_OK) {
		Error_Handler();
	}
	if (HAL_UARTEx_SetTxFifoThreshold(&huart7, UART_TXFIFO_THRESHOLD_1_8)
			!= HAL_OK) {
		Error_Handler();
	}
	if (HAL_UARTEx_SetRxFifoThreshold(&huart7, UART_RXFIFO_THRESHOLD_1_8)
			!= HAL_OK) {
		Error_Handler();
	}
	if (HAL_UARTEx_DisableFifoMode(&huart7) != HAL_OK) {
		Error_Handler();
	}

}

static void MX_UART8_Init(void) {

	huart8.Instance = UART8;
	huart8.Init.BaudRate = 115200;
	huart8.Init.WordLength = UART_WORDLENGTH_8B;
	huart8.Init.StopBits = UART_STOPBITS_1;
	huart8.Init.Parity = UART_PARITY_NONE;
	huart8.Init.Mode = UART_MODE_TX_RX;
	huart8.Init.HwFlowCtl = UART_HWCONTROL_NONE;
	huart8.Init.OverSampling = UART_OVERSAMPLING_16;
	huart8.Init.OneBitSampling = UART_ONE_BIT_SAMPLE_DISABLE;
	huart8.Init.ClockPrescaler = UART_PRESCALER_DIV1;
	huart8.AdvancedInit.AdvFeatureInit = UART_ADVFEATURE_NO_INIT;
	if (HAL_UART_Init(&huart8) != HAL_OK) {
		Error_Handler();
	}
	if (HAL_UARTEx_SetTxFifoThreshold(&huart8, UART_TXFIFO_THRESHOLD_1_8)
			!= HAL_OK) {
		Error_Handler();
	}
	if (HAL_UARTEx_SetRxFifoThreshold(&huart8, UART_RXFIFO_THRESHOLD_1_8)
			!= HAL_OK) {
		Error_Handler();
	}
	if (HAL_UARTEx_DisableFifoMode(&huart8) != HAL_OK) {
		Error_Handler();
	}

}

static void MX_UART9_Init(void) {

	huart9.Instance = UART9;
	huart9.Init.BaudRate = 38400;
	huart9.Init.WordLength = UART_WORDLENGTH_8B;
	huart9.Init.StopBits = UART_STOPBITS_1;
	huart9.Init.Parity = UART_PARITY_NONE;
	huart9.Init.Mode = UART_MODE_TX;
	huart9.Init.HwFlowCtl = UART_HWCONTROL_NONE;
	huart9.Init.OverSampling = UART_OVERSAMPLING_16;
	huart9.Init.OneBitSampling = UART_ONE_BIT_SAMPLE_DISABLE;
	huart9.Init.ClockPrescaler = UART_PRESCALER_DIV1;
	huart9.AdvancedInit.AdvFeatureInit = UART_ADVFEATURE_NO_INIT;
	if (HAL_UART_Init(&huart9) != HAL_OK) {
		Error_Handler();
	}
	if (HAL_UARTEx_SetTxFifoThreshold(&huart9, UART_TXFIFO_THRESHOLD_1_8)
			!= HAL_OK) {
		Error_Handler();
	}
	if (HAL_UARTEx_SetRxFifoThreshold(&huart9, UART_RXFIFO_THRESHOLD_1_8)
			!= HAL_OK) {
		Error_Handler();
	}
	if (HAL_UARTEx_DisableFifoMode(&huart9) != HAL_OK) {
		Error_Handler();
	}

}

static void MX_DMA_Init(void) {

	/* DMA controller clock enable */
	__HAL_RCC_DMA1_CLK_ENABLE();

	/* DMA interrupt init */
	/* DMA1_Stream0_IRQn interrupt configuration */
	HAL_NVIC_SetPriority(DMA1_Stream0_IRQn, 0, 0);
	HAL_NVIC_EnableIRQ(DMA1_Stream0_IRQn);

}

static void MX_GPIO_Init(void) {
	GPIO_InitTypeDef GPIO_InitStruct = { 0 };

	/* GPIO Ports Clock Enable */
	__HAL_RCC_GPIOE_CLK_ENABLE();
	__HAL_RCC_GPIOC_CLK_ENABLE();
	__HAL_RCC_GPIOF_CLK_ENABLE();
	__HAL_RCC_GPIOA_CLK_ENABLE();
	__HAL_RCC_GPIOB_CLK_ENABLE();
	__HAL_RCC_GPIOD_CLK_ENABLE();

	/*Configure GPIO pin Output Level */
	HAL_GPIO_WritePin(GPIOE, SD_CARD_CS_Pin | RELAY1_Pin | RELAY3_Pin,
			GPIO_PIN_RESET);

	/*Configure GPIO pin Output Level */
	HAL_GPIO_WritePin(GPIOC, ENABLE_RELAYS_Pin | LORA_CS_Pin, GPIO_PIN_RESET);

	/*Configure GPIO pin Output Level */
	HAL_GPIO_WritePin(GPIOD, RELAY4_Pin | RELAY2_Pin | LORA_RST_Pin,
			GPIO_PIN_RESET);

	/*Configure GPIO pins : SD_CARD_CS_Pin RELAY1_Pin RELAY3_Pin */
	GPIO_InitStruct.Pin = SD_CARD_CS_Pin | RELAY1_Pin | RELAY3_Pin;
	GPIO_InitStruct.Mode = GPIO_MODE_OUTPUT_PP;
	GPIO_InitStruct.Pull = GPIO_NOPULL;
	GPIO_InitStruct.Speed = GPIO_SPEED_FREQ_LOW;
	HAL_GPIO_Init(GPIOE, &GPIO_InitStruct);

	/*Configure GPIO pin : ENABLE_RELAYS_Pin */
	GPIO_InitStruct.Pin = ENABLE_RELAYS_Pin;
	GPIO_InitStruct.Mode = GPIO_MODE_OUTPUT_PP;
	GPIO_InitStruct.Pull = GPIO_PULLDOWN;
	GPIO_InitStruct.Speed = GPIO_SPEED_FREQ_LOW;
	HAL_GPIO_Init(ENABLE_RELAYS_GPIO_Port, &GPIO_InitStruct);

	/*Configure GPIO pin : LORA_CS_Pin */
	GPIO_InitStruct.Pin = LORA_CS_Pin;
	GPIO_InitStruct.Mode = GPIO_MODE_OUTPUT_PP;
	GPIO_InitStruct.Pull = GPIO_NOPULL;
	GPIO_InitStruct.Speed = GPIO_SPEED_FREQ_LOW;
	HAL_GPIO_Init(LORA_CS_GPIO_Port, &GPIO_InitStruct);

	/*Configure GPIO pin : SYSTEM_BUTTON_Pin */
	GPIO_InitStruct.Pin = SYSTEM_BUTTON_Pin;
	GPIO_InitStruct.Mode = GPIO_MODE_INPUT;
	GPIO_InitStruct.Pull = GPIO_PULLUP;
	HAL_GPIO_Init(SYSTEM_BUTTON_GPIO_Port, &GPIO_InitStruct);

	/*Configure GPIO pins : RELAY4_Pin RELAY2_Pin LORA_RST_Pin */
	GPIO_InitStruct.Pin = RELAY4_Pin | RELAY2_Pin | LORA_RST_Pin;
	GPIO_InitStruct.Mode = GPIO_MODE_OUTPUT_PP;
	GPIO_InitStruct.Pull = GPIO_NOPULL;
	GPIO_InitStruct.Speed = GPIO_SPEED_FREQ_LOW;
	HAL_GPIO_Init(GPIOD, &GPIO_InitStruct);

	/*Configure GPIO pin : LORA_DIO0_Pin */
	GPIO_InitStruct.Pin = LORA_DIO0_Pin;
	GPIO_InitStruct.Mode = GPIO_MODE_INPUT;
	GPIO_InitStruct.Pull = GPIO_NOPULL;
	HAL_GPIO_Init(LORA_DIO0_GPIO_Port, &GPIO_InitStruct);

}

void Error_Handler(void) {
	__disable_irq();
	while (1) {
	}
}
